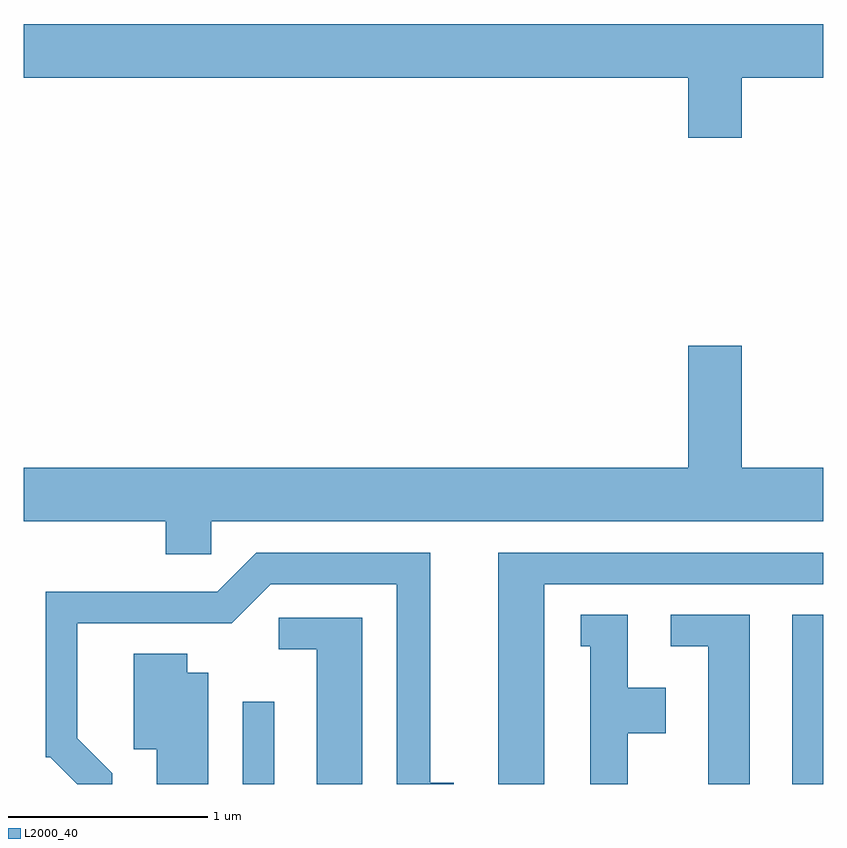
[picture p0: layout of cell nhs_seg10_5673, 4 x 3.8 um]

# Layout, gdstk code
import gdstk
lib = gdstk.Library(unit=1e-6, precision=1e-09)
def R(c, l, rs):  # rectangles x0, y0, x1, y1
    for r in rs: c.add(gdstk.rectangle(r[:2], r[2:], *l))
def P(c, l, *ps):  # polygons
    for p in ps: c.add(gdstk.Polygon(p, *l))
L2000_40 = (2000, 40)

nhs_seg10_5673 = lib.new_cell('nhs_seg10_5673')
R(nhs_seg10_5673, L2000_40, [(352.706,2192.522,352.864,2192.933), (355.456,2192.522,355.611,2193.369)])
P(nhs_seg10_5673, L2000_40, [(355.204,2196.056),(355.611,2196.056),(355.611,2196.324),(351.611,2196.324),(351.611,2196.056),(354.936,2196.056),(354.936,2195.756),(355.204,2195.756)],
  [(352.549,2193.836),(355.611,2193.836),(355.611,2194.104),(355.204,2194.104),(355.204,2194.714),(354.936,2194.714),(354.936,2194.104),(351.611,2194.104),(351.611,2193.836),(352.321,2193.836),(352.321,2193.671),(352.549,2193.671)],
  [(354.214,2193.521),(355.611,2193.521),(355.611,2193.679),(353.986,2193.679),(353.986,2192.522),(354.214,2192.522)],
  [(352.054,2192.577),(351.879,2192.752),(351.879,2193.326),(352.652,2193.326),(352.847,2193.521),(353.476,2193.521),(353.476,2192.522),(353.763,2192.522),(353.763,2192.529),(353.644,2192.529),(353.644,2193.679),(352.774,2193.679),(352.579,2193.484),(351.721,2193.484),(351.721,2192.656),(351.744,2192.656),(351.878,2192.522),(352.054,2192.522)],
  [(354.634,2192.776),(354.824,2192.776),(354.824,2193.004),(354.634,2193.004),(354.634,2193.369),(354.398,2193.369),(354.398,2193.211),(354.446,2193.211),(354.446,2192.522),(354.634,2192.522)],
  [(355.244,2193.369),(354.848,2193.369),(354.848,2193.211),(355.036,2193.211),(355.036,2192.522),(355.244,2192.522)],
  [(353.304,2193.354),(352.888,2193.354),(352.888,2193.196),(353.076,2193.196),(353.076,2192.522),(353.304,2192.522)],
  [(352.534,2193.079),(352.429,2193.079),(352.429,2193.174),(352.161,2193.174),(352.161,2192.696),(352.276,2192.696),(352.276,2192.522),(352.534,2192.522)])

lib.write_gds('nhs_seg10_5673.gds')
